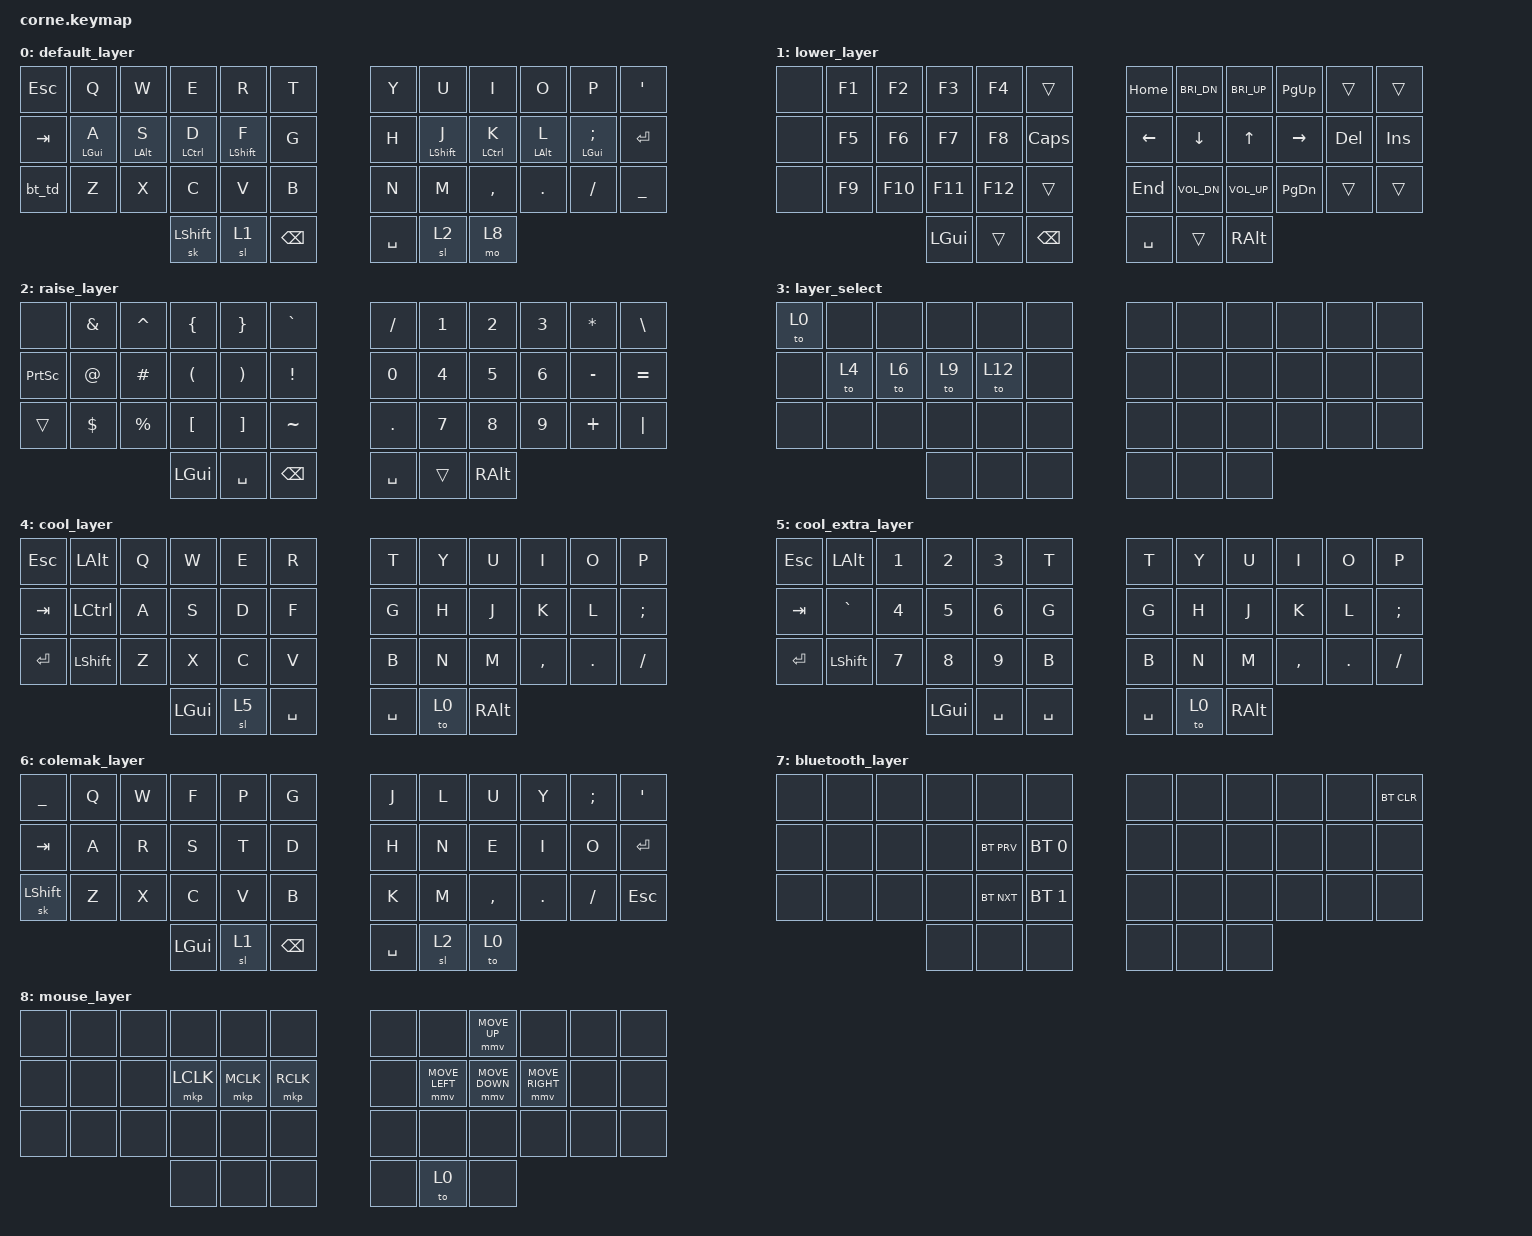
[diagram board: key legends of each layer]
/*
 * Copyright (c) 2020 The ZMK Contributors
 *
 * SPDX-License-Identifier: MIT
 */

#include <behaviors.dtsi>
#include <dt-bindings/zmk/keys.h>
#include <dt-bindings/zmk/bt.h>
#include <dt-bindings/zmk/mouse.h>



&mt {
    compatible = "zmk,behavior-hold-tap";
    flavor = "tap-preferred";
    tapping-term-ms = <180>;
    quick-tap-ms = <180>;
    require-prior-idle-ms = <125>;
};

/ {
    behaviors {
        bt_td: bluetooth_layer_tap_dance {
           compatible = "zmk,behavior-tap-dance";
           #binding-cells = <0>;
           tapping-term-ms = <200>;
           bindings = <&to 3>, <&sl 7>;
       };
    };
    keymap {
        compatible = "zmk,keymap";

        // 0
        default_layer {
            // -----------------------------------------------------------------------------------------
            // |  TAB |  Q  |  W  |  E  |  R  |  T  |   |  Y  |  U   |  I  |  O  |  P  |  '   |
            // | CTRL |  A  |  S  |  D  |  F  |  G  |   |  H  |  J   |  K  |  L  |  ;  | RET  |
            // | SHFT |  Z  |  X  |  C  |  V  |  B  |   |  N  |  M   |  ,  |  .  |  /  | ESC  |
            //                    | GUI | LWR |BSPC |   | SPC | RSE  | ALT |
            bindings = <
                &kp ESC   &kp Q      &kp W      &kp E       &kp R       &kp T   &kp Y &kp U        &kp I       &kp O      &kp P         &kp SQT
                &kp TAB   &mt LGUI A &mt LALT S &mt LCTRL D &mt LSHFT F &kp G   &kp H &mt LSHFT J  &mt LCTRL K &mt LALT L &mt LGUI SEMI &kp RET
                &bt_td    &kp Z      &kp X      &kp C       &kp V       &kp B   &kp N &kp M        &kp COMMA   &kp DOT    &kp FSLH      &kp UNDER
                                                    &sk LSHFT &sl 1 &kp BSPC    &kp SPACE &sl 2 &mo 8
                >;
        };
        // 1
        lower_layer {
            // -----------------------------------------------------------------------------------------
            // |  GAM |  F1 |  F2 |  F3 |  F4 |BTCLR|   | HOME| BUP | BDN | PGUP|     |      |
            // | CAPS |  F5 |  F6 |  F7 |  F8 | BT1 |   | LFT | DWN |  UP | RGT |     |      |
            // | SHFT |  F9 |  F10|  F11|  F12| BT2 |   | END | VDN | VUP | PGDN|     |      |
            //                    | GUI |     | BSPC|   | SPC |     | ALT |
            bindings = <
                &none  &kp F1 &kp F2  &kp F3  &kp F4  &trans        &kp HOME &kp C_BRI_DN &kp C_BRI_UP &kp PG_UP &trans  &trans
                &none  &kp F5 &kp F6  &kp F7  &kp F8  &kp CAPS      &kp LEFT &kp DOWN     &kp UP       &kp RIGHT &kp DEL &kp INS
                &none  &kp F9 &kp F10 &kp F11 &kp F12 &trans        &kp END  &kp C_VOL_DN &kp C_VOL_UP &kp PG_DN &trans  &trans
                                    &kp LGUI &trans  &kp BSPC      &kp SPC  &trans       &kp RALT
                >;
        };
        // 2
        raise_layer {
            // -----------------------------------------------------------------------------------------
            // |  TAB |  !  |  @  |  #  |  $  |  %  |   |  ^  |  &  |  *  |  (  |  )  | BSPC |
            // | CTRL |     |     |     |     |     |   |  -  |  =  |  [  |  ]  |  \  |  `   |
            // | SHFT |     |     |     |     |     |   |  _  |  +  |  {  |  }  | "|" |  ~   |
            //                    | GUI |     | SPC |   | ENT |     | ALT |

            // -----------------------------------------------------------------------------------------
            // |  INS |  &  |  ^  |  {  |  }  |  `  |   |  /  |  1  |  2  |  3  |  *  |  \   |
            // | PSCRN|  @  |  #  |  (  |  )  |  !  |   |  0  |  4  |  5  |  6  |  -  |  =   |
            // | SHFT |  $  |  %  |  [  |  ]  |  ~  |   |  .  |  7  |  8  |  9  |  +  |  |   |
            //                    | GUI |     | BSPC|   | SPC |     | ALT |
            bindings = <
                &none     &kp AMPS &kp CARET &kp LBRC &kp RBRC &kp GRAVE   &kp FSLH  &kp N1    &kp N2    &kp N3   &kp ASTRK &kp BSLH
                &kp PSCRN &kp AT   &kp HASH  &kp LPAR &kp RPAR &kp EXCL    &kp N0    &kp N4    &kp N5    &kp N6   &kp MINUS &kp EQUAL
                &trans    &kp DLLR &kp PRCNT &kp LBKT &kp RBKT &kp TILDE   &kp DOT   &kp N7    &kp N8    &kp N9   &kp PLUS  &kp PIPE
                                       &kp LGUI &kp SPACE &kp BSPC         &kp SPC   &trans    &kp RALT
                >;
        };
        // 3
        layer_select {
            bindings = <
                &to 0 &none &none &none &none      &none   &none &none &none &none &none &none
                &none &to 4 &to 6 &to 9 &to 12     &none   &none &none &none &none &none &none
                &none &none &none &none &none      &none   &none &none &none &none &none &none
                                  &none &none      &none          &none &none &none
            >;
        };
        // 4
        cool_layer {
            // -----------------------------------------------------------------------------------------
            // |  TAB |  Q  |  W  |  E  |  R  |  T  |   |  Y  |  U   |  I  |  O  |  P  |  '   |
            // | CTRL |  A  |  S  |  D  |  F  |  G  |   |  H  |  J   |  K  |  L  |  ;  | RET  |
            // | SHFT |  Z  |  X  |  C  |  V  |  B  |   |  N  |  M   |  ,  |  .  |  /  | ESC  |
            //                    | GUI | LWR |BSPC |   | SPC | RSE  | ALT |
            bindings = <
                &kp ESC  &kp LALT  &kp Q &kp W &kp E &kp R   &kp T &kp Y  &kp U &kp I     &kp O    &kp P
                &kp TAB  &kp LCTRL &kp A &kp S &kp D &kp F   &kp G &kp H  &kp J &kp K     &kp L    &kp SEMI
                &kp RET  &kp LSHFT &kp Z &kp X &kp C &kp V   &kp B &kp N  &kp M &kp COMMA &kp DOT  &kp FSLH
                                 &kp LGUI &sl 5 &kp SPACE     &kp SPACE &to 0 &kp RALT
                >;
        };
        // 5
        cool_extra_layer {
            // -----------------------------------------------------------------------------------------
            // |  TAB |  Q  |  W  |  E  |  R  |  T  |   |  Y  |  U   |  I  |  O  |  P  |  '   |
            // | CTRL |  A  |  S  |  D  |  F  |  G  |   |  H  |  J   |  K  |  L  |  ;  | RET  |
            // | SHFT |  Z  |  X  |  C  |  V  |  B  |   |  N  |  M   |  ,  |  .  |  /  | ESC  |
            //                    | GUI | LWR |BSPC |   | SPC | RSE  | ALT |
            bindings = <
                &kp ESC  &kp LALT  &kp N1 &kp N2 &kp N3 &kp T   &kp T &kp Y  &kp U &kp I     &kp O    &kp P
                &kp TAB  &kp GRAVE &kp N4 &kp N5 &kp N6 &kp G   &kp G &kp H  &kp J &kp K     &kp L    &kp SEMI
                &kp RET  &kp LSHFT &kp N7 &kp N8 &kp N9 &kp B   &kp B &kp N  &kp M &kp COMMA &kp DOT  &kp FSLH
                                 &kp LGUI &kp SPACE &kp SPACE   &kp SPACE &to 0 &kp RALT
                >;
        };
        // 6
        colemak_layer {
            // -----------------------------------------------------------------------------------------
            // |  TAB |  Q  |  W  |  F  |  P  |  G  |   |  J  |  L   |  U  |  Y  |  ;  |  '   |
            // | CTRL |  A  |  R  |  S  |  T  |  D  |   |  H  |  N   |  E  |  I  |  O  | RET  |
            // | SHFT |  Z  |  X  |  C  |  V  |  B  |   |  K  |  M   |  ,  |  .  |  /  | ESC  |
            //                    | GUI | LWR |BSPC |   | SPC | RSE  | ALT |
            bindings = <
                &kp UNDER &kp Q &kp W &kp F &kp P &kp G   &kp J &kp L  &kp U       &kp Y   &kp SEMI &kp SQT
                &kp TAB   &kp A &kp R &kp S &kp T &kp D   &kp H &kp N  &kp E       &kp I   &kp O    &kp RET
                &sk LSHFT &kp Z &kp X &kp C &kp V &kp B   &kp K &kp M  &kp COMMA   &kp DOT &kp FSLH &kp ESC
                             &kp LGUI &sl 1    &kp BSPC   &kp SPACE &sl 2 &to 0
                >;
        };
        // 7
        bluetooth_layer {
            bindings = <
                &none &none &none &none &none      &none          &none &none &none &none &none &bt BT_CLR
                &none &none &none &none &bt BT_PRV &bt BT_SEL 0   &none &none &none &none &none &none
                &none &none &none &none &bt BT_NXT &bt BT_SEL 1   &none &none &none &none &none &none
                                  &none &none      &none          &none &none &none
                >;
        };
        // 8
        mouse_layer {
            // TODO: add scrolling
            bindings = <
                &none &none &none &none     &none     &none             &none     &none          &mmv MOVE_UP   &none           &none &none
                &none &none &none &mkp LCLK &mkp MCLK &mkp RCLK         &none     &mmv MOVE_LEFT &mmv MOVE_DOWN &mmv MOVE_RIGHT &none &none
                &none &none &none &none     &none     &none             &none     &none          &none          &none           &none &none
                                  &none     &none     &none             &none     &to 0          &none
            >;
        };
    };
};
